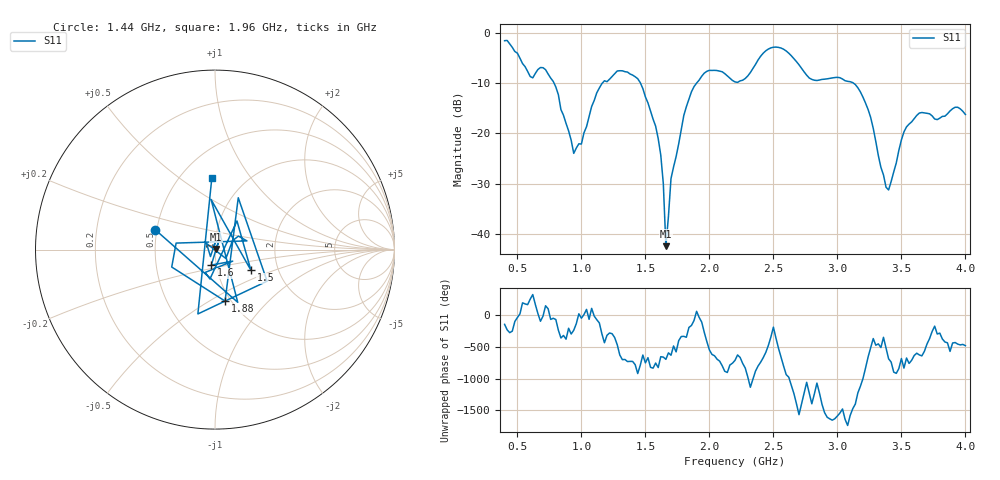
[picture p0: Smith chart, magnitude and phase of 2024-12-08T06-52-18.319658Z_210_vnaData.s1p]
!Created with skrf (http://scikit-rf.org).
# Hz S RI R 50.0
!freq ReS11 ImS11
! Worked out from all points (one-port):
!   181 points, 400 MHz to 4 GHz, reference 50 ohm
!   lowest |S11| = -42.5 dB at 1.66 GHz (marker M1), VSWR 1.02, Z = 50.7 + j0.339 ohm
!   |S11| at or under -10 dB: 786.3 MHz to 1.163 GHz (377 MHz wide, 38.7 % of centre); 1.462 GHz to 1.9 GHz (438 MHz wide, 26.1 % of centre); 3.126 GHz to end of sweep
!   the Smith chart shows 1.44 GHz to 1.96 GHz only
!   S11 on the Smith chart (normalised r, x): 1.44 GHz: 0.49, +0.12; 1.5 GHz: 1.45, -0.35; 1.6 GHz: 0.95, -0.16; 1.88 GHz: 0.94, -0.59; 1.96 GHz: 0.70, +0.67
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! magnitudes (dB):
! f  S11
! 400 MHz  -1.5
! 600 MHz  -8.7
! 720 MHz  -7.3
! 860 MHz  -16.4
! 940 MHz  -24.0
! 1 GHz  -22.1
! 1.14 GHz  -11.0
! 1.3 GHz  -7.5
! 1.44 GHz  -9.1
! 1.5 GHz  -12.7
! 1.6 GHz  -21.0
! 1.64 GHz  -30.0
! 1.66 GHz  -42.5
! 1.7 GHz  -29.0
! 1.76 GHz  -22.1
! 1.8 GHz  -16.4
! 1.88 GHz  -10.7
! 1.96 GHz  -8.0
! 2.2 GHz  -9.7
! 2.48 GHz  -3.0
! 2.66 GHz  -5.1
! 2.8 GHz  -9.2
! 3.1 GHz  -9.7
! 3.24 GHz  -15.3
! 3.4 GHz  -31.3
! 3.56 GHz  -18.2
! 3.66 GHz  -15.9
! 4 GHz  -16.2
